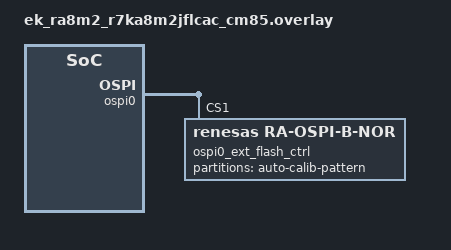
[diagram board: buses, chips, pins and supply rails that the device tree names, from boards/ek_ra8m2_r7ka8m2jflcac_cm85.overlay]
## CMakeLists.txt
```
# SPDX-License-Identifier: Apache-2.0

cmake_minimum_required(VERSION 3.20.0)

find_package(Zephyr REQUIRED HINTS $ENV{ZEPHYR_BASE})
project(mram_ospi_dispatch)

FILE(GLOB app_sources src/*.c)
target_sources(app PRIVATE ${app_sources})

# Run ext_code from the external flash (XIP). No need to copy.
zephyr_code_relocate(FILES src/ext_code.c LOCATION EXTFLASH_TEXT NOCOPY)

# But still relocate (copy) the data to RAM
zephyr_code_relocate(FILES src/ext_code.c LOCATION RAM_DATA)

# sram_code instead runs entirely from SRAM after being copied there.
zephyr_code_relocate(FILES src/sram_code.c LOCATION RAM)

if(CONFIG_FLASH_RENESAS_RA_OSPI_B)
  # Signature slot linked right after the relocated code in external flash
  zephyr_linker_sources(SECTIONS ${CMAKE_CURRENT_SOURCE_DIR}/ospi_sig.ld)

  set(OSPI_TEXT_SECTION .extflash_text_reloc)
  set(OSPI_SIG_SECTION  .extflash_sig)
  set(OSPI_SIGN_PY ${CMAKE_CURRENT_SOURCE_DIR}/scripts/ospi_sign.py
      --mcuboot-scripts ${ZEPHYR_MCUBOOT_MODULE_DIR}/scripts)

  # Signing key. Pass -DOSPI_SIGN_KEY=<pem> for a real key; otherwise a
  # throw-away development key is generated in the build directory.
  # SYSBUILD GLOBAL: a plain -DOSPI_SIGN_KEY=... given to `west build --sysbuild`
  # is forwarded to this image
  zephyr_get(OSPI_SIGN_KEY SYSBUILD GLOBAL)
  if(NOT OSPI_SIGN_KEY)
    set(OSPI_SIGN_KEY ${PROJECT_BINARY_DIR}/ospi_dev_key_mldsa87.pem)
    if(NOT EXISTS ${OSPI_SIGN_KEY})
      execute_process(COMMAND ${PYTHON_EXECUTABLE} ${OSPI_SIGN_PY} genkey ${OSPI_SIGN_KEY}
                      COMMAND_ERROR_IS_FATAL ANY)
    endif()
    message(WARNING "Using a generated DEVELOPMENT ML-DSA-87 key (${OSPI_SIGN_KEY}); "
                    "pass -DOSPI_SIGN_KEY=<pem> for production")
  endif()
  set_property(DIRECTORY APPEND PROPERTY CMAKE_CONFIGURE_DEPENDS ${OSPI_SIGN_KEY})

  # Public key embedded in the MRAM image
  execute_process(COMMAND ${PYTHON_EXECUTABLE} ${OSPI_SIGN_PY} header ${OSPI_SIGN_KEY}
                          ${PROJECT_BINARY_DIR}/ospi_pubkey.h
                  COMMAND_ERROR_IS_FATAL ANY)
  target_include_directories(app PRIVATE ${PROJECT_BINARY_DIR})

  # zephyr.bin/.hex (the input of imgtool when MCUboot is enabled) must only
  # contain the MRAM image: the OSPI sections live at 0x90000000 and would
  # turn the binary into a ~2 GB file. They are produced by split_flash below.
  set_property(TARGET bintools APPEND PROPERTY elfconvert_flag
               --remove-section=${OSPI_TEXT_SECTION} --remove-section=${OSPI_SIG_SECTION})

  find_program(SREC_CAT srec_cat REQUIRED)

  set(ELF             $<TARGET_FILE:zephyr_final>)
  set(SIGNED_ELF      ${PROJECT_BINARY_DIR}/zephyr_signed.elf)
  set(MERGED_HEX      ${PROJECT_BINARY_DIR}/zephyr_merged.hex)

  # Image the OSPI hex is merged with to form zephyr_merged.hex
  set(MERGE_BASE_HEX  ${PROJECT_BINARY_DIR}/zephyr_internal.signed.hex)

  if(CONFIG_BUILD_WITH_TFM)
    # The Non-secure OSPI_B driver reprograms OCTACLK (R_BSP_OctaclkUpdate).
    # With secure clocks TF-M makes OCTACKCR Secure and the access faults, so
    # hand only OCTACLK (CGFSAR.NONSEC17) to the Non-secure side.
    set_property(TARGET zephyr_property_target APPEND PROPERTY TFM_CMAKE_OPTIONS
                 -DRENESAS_RA_CGFSAR_NS_OCTACLK=ON)

    # Non-secure build: the NS image is signed by the TF-M (BL2) flow, which
    # produces zephyr_ns_signed.* and tfm_merged.hex (BL2 + TF-M S + NS)
    set(INTERNAL_HEX_CMD ${CMAKE_COMMAND} -E copy
        ${PROJECT_BINARY_DIR}/zephyr/zephyr_ns_signed.hex
        ${PROJECT_BINARY_DIR}/zephyr_internal.signed.hex)
    set(INTERNAL_BIN_CMD ${CMAKE_COMMAND} -E copy
        ${PROJECT_BINARY_DIR}/zephyr/zephyr_ns_signed.bin
        ${PROJECT_BINARY_DIR}/zephyr_internal.signed.bin)
    set(MERGE_BASE_HEX  ${PROJECT_BINARY_DIR}/zephyr/tfm_merged.hex)

    # Place the TF-M secure image and, with BL2, BL2 itself and the TrustZone
    # partition data next to the other flash images
    set(TFM_COPY_CMDS COMMAND ${CMAKE_COMMAND} -E copy
        ${PROJECT_BINARY_DIR}/zephyr/tfm_s_signed.bin ${PROJECT_BINARY_DIR}/tfm_s_signed.bin
        COMMAND ${CMAKE_COMMAND} -E copy
        ${PROJECT_BINARY_DIR}/zephyr/tfm_s_signed.hex ${PROJECT_BINARY_DIR}/tfm_s_signed.hex)
    if(CONFIG_TFM_BL2)
      list(APPEND TFM_COPY_CMDS COMMAND ${CMAKE_COMMAND} -E copy
           ${PROJECT_BINARY_DIR}/zephyr/bl2.rpd ${PROJECT_BINARY_DIR}/bl2.rpd
           COMMAND ${CMAKE_COMMAND} -E copy
           $<TARGET_PROPERTY:tfm,BL2_HEX_FILE> ${PROJECT_BINARY_DIR}/bl2.hex)
    endif()

    # -DTFM_PROVISIONING_BUNDLE=ON: BL2 provisions the OTP from a provisioning
    # bundle instead of fixed dummy data, so the BL2 ROTPKs are the hashes of
    # CONFIG_TFM_KEY_FILE_S / CONFIG_TFM_KEY_FILE_NS. With
    # CONFIG_TFM_DUMMY_PROVISIONING=n, HUK, IAK and seeds come from
    # -DTFM_PROVISIONING_KEYS_CONFIG=<file>, or are random.
    zephyr_get(TFM_PROVISIONING_BUNDLE)
    if(CONFIG_TFM_BL2 AND TFM_PROVISIONING_BUNDLE)
      zephyr_get(TFM_PROVISIONING_KEYS_CONFIG)
      set_property(TARGET zephyr_property_target APPEND PROPERTY TFM_CMAKE_OPTIONS
                   -DPLATFORM_DEFAULT_PROVISIONING=OFF
                   -DPROVISIONING_KEYS_CONFIG=${TFM_PROVISIONING_KEYS_CONFIG})

      # PROVISIONING_BUNDLE_START of the RA TF-M platform: secure MRAM right
      # after the OTP / NV counters area
      set(PROV_BUNDLE_ADDR 0x02074000)
      set(PROV_BUNDLE_BIN  ${PROJECT_BINARY_DIR}/provisioning_bundle.bin)
      set(PROV_BUNDLE_HEX  ${PROJECT_BINARY_DIR}/provisioning_bundle.hex)
      list(APPEND TFM_COPY_CMDS COMMAND ${CMAKE_COMMAND} -E copy
           ${CMAKE_BINARY_DIR}/tfm/bin/provisioning_bundle.bin ${PROV_BUNDLE_BIN}
           COMMAND ${SREC_CAT} ${PROV_BUNDLE_BIN} -Binary -offset ${PROV_BUNDLE_ADDR}
           -o ${PROV_BUNDLE_HEX} -Intel)
      set(MERGE_EXTRA_HEX ${PROV_BUNDLE_HEX} -Intel)
    endif()
  elseif(CONFIG_BOOTLOADER_MCUBOOT)
    set(INTERNAL_HEX_CMD ${CMAKE_COMMAND} -E copy
        ${PROJECT_BINARY_DIR}/zephyr/zephyr.signed.hex
        ${PROJECT_BINARY_DIR}/zephyr_internal.signed.hex)
    set(INTERNAL_BIN_CMD ${CMAKE_COMMAND} -E copy
        ${PROJECT_BINARY_DIR}/zephyr/zephyr.signed.bin
        ${PROJECT_BINARY_DIR}/zephyr_internal.signed.bin)
  else()
    set(INTERNAL_HEX_CMD ${CMAKE_OBJCOPY} -R ${OSPI_TEXT_SECTION} -R ${OSPI_SIG_SECTION} -O ihex
        ${SIGNED_ELF} ${PROJECT_BINARY_DIR}/zephyr_internal.signed.hex)
    set(INTERNAL_BIN_CMD ${CMAKE_OBJCOPY} -R ${OSPI_TEXT_SECTION} -R ${OSPI_SIG_SECTION} -O binary
        ${SIGNED_ELF} ${PROJECT_BINARY_DIR}/zephyr_internal.signed.bin)
  endif()

  add_custom_target(
    split_flash ALL
    DEPENDS zephyr_final
    # Sign the exact bytes the CPU will read from OSPI and patch the
    # signature into its reserved slot
    COMMAND ${CMAKE_OBJCOPY} -O binary -j ${OSPI_TEXT_SECTION} ${ELF}
            ${PROJECT_BINARY_DIR}/ospi_text.bin
    COMMAND ${PYTHON_EXECUTABLE} ${OSPI_SIGN_PY} sign ${OSPI_SIGN_KEY}
            ${PROJECT_BINARY_DIR}/ospi_text.bin ${PROJECT_BINARY_DIR}/ospi_sig.bin
    COMMAND ${CMAKE_OBJCOPY} --update-section ${OSPI_SIG_SECTION}=${PROJECT_BINARY_DIR}/ospi_sig.bin
            ${ELF} ${SIGNED_ELF}
    # Main MRAM image, OSPI sections removed. With MCUboot this is the
    # imgtool-signed image (header + TLVs) that MCUboot validates.
    COMMAND ${INTERNAL_HEX_CMD}
    COMMAND ${INTERNAL_BIN_CMD}
    ${TFM_COPY_CMDS}
    # OSPI data only (intermediate)
    COMMAND ${CMAKE_OBJCOPY} -j ${OSPI_TEXT_SECTION} -j ${OSPI_SIG_SECTION} -O ihex
            ${SIGNED_ELF} ${PROJECT_BINARY_DIR}/zephyr_ospi_raw.signed.hex
    # Pad to an even length (the image is odd: the signature is 4627 bytes),
    # then byte-swap for octa-mode read order
    COMMAND ${SREC_CAT} ${PROJECT_BINARY_DIR}/zephyr_ospi_raw.signed.hex -Intel
            -fill 0xFF -within ${PROJECT_BINARY_DIR}/zephyr_ospi_raw.signed.hex -Intel
            -range-padding 2
            -byte_swap 2 -o ${PROJECT_BINARY_DIR}/zephyr_ospi.signed.hex -Intel
    # Flash-ready OSPI binary: starts at 0x90000000 (offset 0 of the OSPI window)
    COMMAND ${SREC_CAT} ${PROJECT_BINARY_DIR}/zephyr_ospi.signed.hex -Intel
            -offset -0x90000000 -o ${PROJECT_BINARY_DIR}/zephyr_ospi.signed.bin -Binary
    COMMAND ${SREC_CAT} ${MERGE_BASE_HEX} -Intel ${MERGE_EXTRA_HEX}
            ${PROJECT_BINARY_DIR}/zephyr_ospi.signed.hex -Intel -o ${MERGED_HEX} -Intel
    COMMENT "Signing and splitting OSPI (${OSPI_TEXT_SECTION}) image for octa-mode read order"
    VERBATIM
  )
endif()
```

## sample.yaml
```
sample:
  name: MRAM dispatcher with signed OSPI code
tests:
  sample.boards.renesas.mram_ospi_dispatch:
    platform_allow:
      - ek_ra8m2/r7ka8m2jflcac/cm85
    integration_platforms:
      - ek_ra8m2/r7ka8m2jflcac/cm85
    sysbuild: true
    build_only: true
    tags: renesas linker
```

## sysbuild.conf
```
# MCUboot -> MRAM dispatcher (this app) -> OSPI code
SB_CONFIG_BOOTLOADER_MCUBOOT=y
SB_CONFIG_BOOT_SIGNATURE_TYPE_ML_DSA=y

# MCUboot's own ML-DSA-87 key. By default this is the public MCUboot test key: replace it with a
# production key. It is unrelated to the OSPI signing key (-DOSPI_SIGN_KEY).
# SB_CONFIG_BOOT_SIGNATURE_KEY_FILE="/path/to/mcuboot_mldsa87.pem"
```

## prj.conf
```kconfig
CONFIG_CODE_DATA_RELOCATION=y
CONFIG_HAVE_CUSTOM_LINKER_SCRIPT=y
CONFIG_CUSTOM_LINKER_SCRIPT="linker_mram_ospi.ld"
CONFIG_COVERAGE=n
CONFIG_XIP=y
CONFIG_LOG=y
CONFIG_MAIN_STACK_SIZE=4096
```

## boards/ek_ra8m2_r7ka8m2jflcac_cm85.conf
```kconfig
# Copyright (c) 2026 Renesas Electronics Corporation
# SPDX-License-Identifier: Apache-2.0

CONFIG_FLASH=y

# The OSPI image is verified from MRAM with PSA Crypto (ML-DSA-87, FIPS 204,
# pure mode, mldsa-native) before any code in the OSPI flash is executed.
CONFIG_MBEDTLS=y
CONFIG_MBEDTLS_PSA_CRYPTO_C=y
CONFIG_PSA_CRYPTO=y
CONFIG_PSA_WANT_ALG_SHAKE256=y
CONFIG_TF_PSA_CRYPTO_PQCP_MLDSA_ENABLED=y
CONFIG_TF_PSA_CRYPTO_PQCP_MLDSA_87_ENABLED=y
CONFIG_TF_PSA_CRYPTO_PQCP_REDUCE_RAM=y
# ML-DSA-87 verification with mldsa-native (REDUCE_RAM) needs about 41 KB of
# stack (MLD_TOTAL_ALLOC_87_VERIFY = 41216, see mldsa_native.h). Use the same
# 64 KB as MCUboot's ML-DSA build for headroom.
CONFIG_MAIN_STACK_SIZE=65536

# Required by the OSPI_B driver when CODE_DATA_RELOCATION is on (MPU exec on RAM text)
CONFIG_CODE_DATA_RELOCATION_SRAM=y

CONFIG_BOOTLOADER_MCUBOOT=y
```

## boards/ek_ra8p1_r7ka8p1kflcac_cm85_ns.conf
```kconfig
# Copyright (c) 2026 Renesas Electronics Corporation
# SPDX-License-Identifier: Apache-2.0

CONFIG_FLASH=y

# The OSPI image is verified from MRAM with PSA Crypto (ML-DSA-87, FIPS 204,
# pure mode, mldsa-native) before any code in the OSPI flash is executed. The
# PSA calls are served by the TF-M crypto partition.
CONFIG_MBEDTLS=y
CONFIG_PSA_CRYPTO=y
CONFIG_PSA_WANT_ALG_SHAKE256=y
CONFIG_TF_PSA_CRYPTO_PQCP_MLDSA_ENABLED=y
CONFIG_TF_PSA_CRYPTO_PQCP_MLDSA_87_ENABLED=y
CONFIG_TF_PSA_CRYPTO_PQCP_REDUCE_RAM=y
# ML-DSA-87 verification with mldsa-native (REDUCE_RAM) needs about 41 KB of
# stack (MLD_TOTAL_ALLOC_87_VERIFY = 41216, see mldsa_native.h). Use the same
# 64 KB as MCUboot's ML-DSA build for headroom.
CONFIG_MAIN_STACK_SIZE=65536

# Required by the OSPI_B driver when CODE_DATA_RELOCATION is on (MPU exec on RAM text)
CONFIG_CODE_DATA_RELOCATION_SRAM=y
```

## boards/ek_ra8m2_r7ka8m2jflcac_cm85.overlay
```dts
/*
 * Copyright (c) 2026 Renesas Electronics Corporation
 * SPDX-License-Identifier: Apache-2.0
 */

/*
 * Application runs from MRAM. Only the code relocated with
 * "EXTFLASH_TEXT NOCOPY" lives in the octal flash and is executed in place
 * through the OSPI_B memory-mapped window at 0x90000000.
 */
&ospi0 {
	pinctrl-0 = <&ospi0_default>;
	pinctrl-names = "default";
	ddr-sampling-extension = <7>;
	status = "okay";

	ospi0_ext_flash_ctrl: flash-controller@1 {
		compatible = "renesas,ra-ospi-b-nor";
		ranges = <0x0 0x90000000 DT_SIZE_M(256)>;
		reg = <1>;
		protocol-mode = <OSPI_OPI_MODE>;
		ospi-max-frequency = <DT_FREQ_M(133)>;
		jedec-id = [c2 86 3a];
		default-8d-dummy-cycles = <20>;
		#address-cells = <1>;
		#size-cells = <1>;
		status = "okay";

		ospi0_ext_flash: mx25lw51245g: nor-flash@0 {
			compatible = "soc-nv-flash";
			reg = <0x0 DT_SIZE_M(64)>;
			ranges = <0x0 0x0 DT_SIZE_M(64)>;
			write-block-size = <16>;
			erase-block-size = <DT_SIZE_K(4)>;
			#address-cells = <1>;
			#size-cells = <1>;
			status = "okay";

			partitions {
				ranges;
				#address-cells = <1>;
				#size-cells = <1>;

				auto_calib_partition: partition@3fff000 {
					compatible = "zephyr,mapped-partition";
					label = "auto-calib-pattern";
					reg = <0x3fff000 DT_SIZE_K(4)>;
				};
			};
		};
	};
};
```

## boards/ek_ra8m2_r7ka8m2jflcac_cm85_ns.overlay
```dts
/*
 * Copyright (c) 2026 Renesas Electronics Corporation
 * SPDX-License-Identifier: Apache-2.0
 */

/*
 * Application runs from MRAM. Only the code relocated with
 * "EXTFLASH_TEXT NOCOPY" lives in the octal flash and is executed in place
 * through the OSPI_B memory-mapped window at 0x90000000.
 */
&ospi0 {
	pinctrl-0 = <&ospi0_default>;
	pinctrl-names = "default";
	ddr-sampling-extension = <7>;
	status = "okay";

	ospi0_ext_flash_ctrl: flash-controller@1 {
		compatible = "renesas,ra-ospi-b-nor";
		ranges = <0x0 0x90000000 DT_SIZE_M(256)>;
		reg = <1>;
		protocol-mode = <OSPI_OPI_MODE>;
		nor-max-frequency = <DT_FREQ_M(133)>;
		jedec-id = [c2 86 3a];
		default-8d-dummy-cycles = <20>;
		#address-cells = <1>;
		#size-cells = <1>;
		status = "okay";

		ospi0_ext_flash: mx25lw51245g: nor-flash@0 {
			compatible = "soc-nv-flash";
			reg = <0x0 DT_SIZE_M(64)>;
			ranges = <0x0 0x0 DT_SIZE_M(64)>;
			write-block-size = <16>;
			erase-block-size = <DT_SIZE_K(4)>;
			#address-cells = <1>;
			#size-cells = <1>;
			status = "okay";

			partitions {
				ranges;
				#address-cells = <1>;
				#size-cells = <1>;

				auto_calib_partition: partition@3fff000 {
					compatible = "zephyr,mapped-partition";
					label = "auto-calib-pattern";
					reg = <0x3fff000 DT_SIZE_K(4)>;
				};
			};
		};
	};
};
```

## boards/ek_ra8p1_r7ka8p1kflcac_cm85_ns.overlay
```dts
/*
 * Copyright (c) 2026 Renesas Electronics Corporation
 * SPDX-License-Identifier: Apache-2.0
 */

/*
 * Application runs from MRAM. Only the code relocated with
 * "EXTFLASH_TEXT NOCOPY" lives in the octal flash and is executed in place
 * through the OSPI_B memory-mapped window at 0x90000000.
 *
 * The OSPI_B controller and the MX25LW51245G are described in ek_ra8p1.dtsi
 * (disabled by default): enable them and reserve the auto-calibration sector.
 */
&ext_flash_ctrl {
	status = "okay";
};

&ext_flash {
	status = "okay";

	partitions {
		ranges;
		#address-cells = <1>;
		#size-cells = <1>;

		auto_calib_partition: partition@3fff000 {
			compatible = "zephyr,mapped-partition";
			label = "auto-calib-pattern";
			reg = <0x3fff000 DT_SIZE_K(4)>;
		};
	};
};
```

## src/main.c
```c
/*
 * Copyright (c) 2018 Intel Corporation.
 * Copyright (c) 2022 Carlo Caione <ccaione@baylibre.com>
 *
 * SPDX-License-Identifier: Apache-2.0
 */

#include <zephyr/kernel.h>
#include <zephyr/sys/printk.h>

/*
 * This function will allow execute from sram region.  This is needed only for
 * this sample because by default all soc will disable the execute from SRAM.
 * An application that requires that the code be executed from SRAM will have
 * to configure the region appropriately in arm_mpu_regions.c.
 */
#ifdef CONFIG_ARM_MPU
#include <cmsis_core.h>
void disable_mpu_rasr_xn(void)
{
	uint32_t index;

	/*
	 * Kept the max index as 8(irrespective of soc) because the sram would
	 * most likely be set at index 2.
	 */
	for (index = 0U; index < 8; index++) {
		MPU->RNR = index;
#if defined(CONFIG_ARMV8_M_BASELINE) || defined(CONFIG_ARMV8_M_MAINLINE)
		if (MPU->RBAR & MPU_RBAR_XN_Msk) {
			MPU->RBAR ^= MPU_RBAR_XN_Msk;
		}
#else
		if (MPU->RASR & MPU_RASR_XN_Msk) {
			MPU->RASR ^= MPU_RASR_XN_Msk;
		}
#endif /* CONFIG_ARMV8_M_BASELINE || CONFIG_ARMV8_M_MAINLINE */
	}
}
#endif /* CONFIG_ARM_MPU */

extern void function_in_ext_flash(void);
extern void function_in_sram(void);
extern int ospi_image_verify(void);

int main(void)
{
#ifdef CONFIG_ARM_MPU
	disable_mpu_rasr_xn();
#endif	/* CONFIG_ARM_MPU */

	printk("Address of %s function %p\n", __func__, &main);

	/* Never execute code from the external flash unless its signature is valid */
	if (ospi_image_verify() != 0) {
		printk("External flash image verification FAILED, not executing it\n");
		while (1) {
			k_msleep(1000);
			printk("External flash image verification FAILED, not executing it\n");
		}
	}
	printk("External flash image verified\n");

	function_in_ext_flash();

	return 0;
}
```

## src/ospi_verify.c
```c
/*
 * Copyright (c) 2026 Renesas Electronics Corporation
 * SPDX-License-Identifier: Apache-2.0
 */

#include <zephyr/kernel.h>
#include <zephyr/sys/printk.h>
#include <psa/crypto.h>

#ifdef CONFIG_FLASH_RENESAS_RA_OSPI_B

#include "ospi_pubkey.h"

/* ML-DSA-87 signature size (FIPS 204) */
#define OSPI_SIG_LEN 4627

/* Signature slot, patched after link by scripts/ospi_sign.py */
const uint8_t ospi_sig_slot[OSPI_SIG_LEN] __attribute__((section(".extflash_sig"), used));

/* Provided by the linker script */
extern const uint8_t __extflash_text_reloc_start[];
extern const uint8_t __extflash_text_reloc_size[];
extern const uint8_t __extflash_sig_start[];

int ospi_image_verify(void)
{
	psa_key_attributes_t attr = PSA_KEY_ATTRIBUTES_INIT;
	psa_key_id_t key = PSA_KEY_ID_NULL;
	psa_status_t st;
	int ret = -EACCES;

	st = psa_crypto_init();
	if (st != PSA_SUCCESS) {
		printk("psa_crypto_init failed (%d)\n", (int)st);
		return -EIO;
	}

	psa_set_key_type(&attr, PSA_KEY_TYPE_ML_DSA_PUBLIC_KEY);
	/* For ML-DSA the "key bits" value is the parameter set (87), not the key size */
	psa_set_key_bits(&attr, 87);
	psa_set_key_usage_flags(&attr, PSA_KEY_USAGE_VERIFY_MESSAGE);
	psa_set_key_algorithm(&attr, PSA_ALG_DETERMINISTIC_ML_DSA);

	st = psa_import_key(&attr, ospi_pubkey, sizeof(ospi_pubkey), &key);
	if (st != PSA_SUCCESS) {
		printk("key import failed (%d)\n", (int)st);
		return -EIO;
	}

	/* ML-DSA runs in pure mode over the whole message. The OSPI window is
	 * read through memory-mapped mode, so this is the exact byte stream
	 * the CPU will fetch.
	 */
	st = psa_verify_message(key, PSA_ALG_DETERMINISTIC_ML_DSA, __extflash_text_reloc_start,
				(size_t)__extflash_text_reloc_size, __extflash_sig_start,
				OSPI_SIG_LEN);
	if (st == PSA_SUCCESS) {
		ret = 0;
	} else {
		printk("OSPI image signature invalid (%d)\n", (int)st);
	}

	psa_destroy_key(key);
	return ret;
}

#else

int ospi_image_verify(void)
{
	return 0;
}

#endif
```
